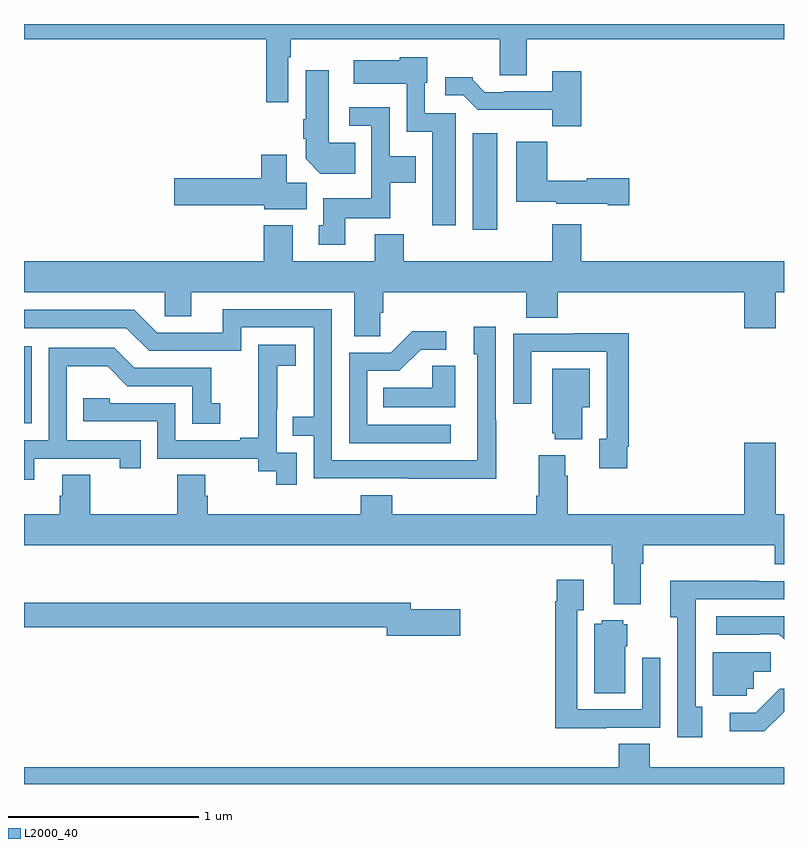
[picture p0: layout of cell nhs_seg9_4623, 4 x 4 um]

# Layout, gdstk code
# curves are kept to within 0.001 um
import gdstk
lib = gdstk.Library(unit=1e-6, precision=1e-09)
def R(c, l, rs):  # rectangles x0, y0, x1, y1
    for r in rs: c.add(gdstk.rectangle(r[:2], r[2:], *l))
def P(c, l, *ps):  # polygons
    for p in ps: c.add(gdstk.Polygon(p, *l))
L2000_40 = (2000, 40)

nhs_seg9_4623 = lib.new_cell('nhs_seg9_4623')
R(nhs_seg9_4623, L2000_40, [(377,1194.399,377.04,1194.805), (379.361,1195.416,379.492,1195.924)])
P(nhs_seg9_4623, L2000_40, [(378.39,1196.324),(378.403,1196.324),(378.403,1196.42),(379.505,1196.42),(379.505,1196.23),(379.645,1196.23),(379.645,1196.42),(381,1196.42),(381,1196.5),(377,1196.5),(377,1196.42),(378.274,1196.42),(378.274,1196.088),(378.39,1196.088)],
  [(379.273,1196.031),(379.11,1196.031),(379.11,1196.19),(379.123,1196.19),(379.123,1196.326),(378.978,1196.326),(378.978,1196.308),(378.735,1196.308),(378.735,1196.186),(379.014,1196.186),(379.014,1195.934),(379.148,1195.934),(379.148,1195.44),(379.273,1195.44)],
  [(378.743,1195.876),(378.604,1195.876),(378.604,1196.257),(378.482,1196.257),(378.482,1196),(378.47,1196),(378.47,1195.897),(378.482,1195.897),(378.482,1195.79),(378.56,1195.712),(378.743,1195.712)],
  [(379.934,1196.251),(379.781,1196.251),(379.781,1196.145),(379.525,1196.145),(379.525,1196.142),(379.426,1196.142),(379.362,1196.206),(379.362,1196.221),(379.218,1196.221),(379.218,1196.124),(379.311,1196.124),(379.387,1196.048),(379.779,1196.048),(379.779,1195.961),(379.934,1195.961)],
  [(378.691,1195.478),(378.927,1195.478),(378.927,1195.664),(379.063,1195.664),(379.063,1195.804),(378.924,1195.804),(378.924,1196.061),(378.711,1196.061),(378.711,1195.965),(378.828,1195.965),(378.828,1195.582),(378.575,1195.582),(378.575,1195.44),(378.551,1195.44),(378.551,1195.338),(378.691,1195.338)],
  [(380.185,1195.688),(379.962,1195.688),(379.962,1195.675),(379.754,1195.675),(379.754,1195.879),(379.592,1195.879),(379.592,1195.565),(379.8,1195.565),(379.8,1195.553),(380.072,1195.553),(380.072,1195.546),(380.185,1195.546)],
  [(378.487,1195.664),(378.382,1195.664),(378.382,1195.813),(378.248,1195.813),(378.248,1195.688),(377.79,1195.688),(377.79,1195.546),(378.264,1195.546),(378.264,1195.526),(378.487,1195.526)],
  [(378.876,1194.979),(378.89,1194.979),(378.89,1195.088),(379.643,1195.088),(379.643,1194.955),(379.808,1194.955),(379.808,1195.088),(380.792,1195.088),(380.792,1194.9),(380.956,1194.9),(380.956,1195.088),(381,1195.088),(381,1195.252),(379.934,1195.252),(379.934,1195.447),(379.781,1195.447),(379.781,1195.252),(378.998,1195.252),(378.998,1195.393),(378.845,1195.393),(378.845,1195.252),(378.415,1195.252),(378.415,1195.441),(378.263,1195.441),(378.263,1195.252),(377,1195.252),(377,1195.088),(377.742,1195.088),(377.742,1194.961),(377.881,1194.961),(377.881,1195.088),(378.737,1195.088),(378.737,1194.856),(378.876,1194.856)],
  [(379.485,1194.413),(379.482,1194.413),(379.482,1194.907),(379.367,1194.907),(379.367,1194.762),(379.386,1194.762),(379.386,1194.204),(378.621,1194.204),(378.621,1194.999),(378.047,1194.999),(378.047,1194.876),(377.7,1194.876),(377.58,1194.996),(377,1194.996),(377,1194.9),(377.538,1194.9),(377.658,1194.78),(378.144,1194.78),(378.144,1194.903),(378.525,1194.903),(378.525,1194.434),(378.415,1194.434),(378.415,1194.333),(378.525,1194.333),(378.525,1194.108),(379.485,1194.107)],
  [(379.246,1194.39),(378.807,1194.39),(378.807,1194.675),(378.976,1194.675),(379.087,1194.786),(379.222,1194.786),(379.222,1194.884),(379.043,1194.884),(378.93,1194.771),(378.711,1194.771),(378.711,1194.294),(379.246,1194.294)],
  [(380.176,1194.274),(380.183,1194.274),(380.183,1194.872),(379.891,1194.872),(379.891,1194.87),(379.575,1194.87),(379.575,1194.501),(379.671,1194.501),(379.671,1194.774),(380.067,1194.774),(380.067,1194.318),(380.027,1194.318),(380.027,1194.162),(380.176,1194.162)],
  [(378.435,1194.243),(378.33,1194.243),(378.33,1194.473),(378.332,1194.473),(378.332,1194.701),(378.43,1194.701),(378.43,1194.811),(378.232,1194.811),(378.232,1194.605),(378.233,1194.605),(378.233,1194.322),(378.137,1194.322),(378.137,1194.309),(377.796,1194.309),(377.796,1194.504),(377.451,1194.504),(377.451,1194.531),(377.311,1194.531),(377.311,1194.408),(377.7,1194.408),(377.7,1194.213),(378.234,1194.213),(378.234,1194.145),(378.327,1194.145),(378.327,1194.075),(378.435,1194.075)],
  [(377.053,1194.213),(377.504,1194.213),(377.504,1194.162),(377.615,1194.162),(377.615,1194.309),(377.226,1194.309),(377.226,1194.698),(377.44,1194.698),(377.544,1194.594),(377.886,1194.594),(377.886,1194.396),(378.034,1194.396),(378.034,1194.505),(377.985,1194.505),(377.985,1194.69),(377.581,1194.69),(377.476,1194.795),(377.13,1194.795),(377.13,1194.309),(377,1194.309),(377,1194.102),(377.053,1194.102)],
  [(379.27,1194.701),(379.149,1194.701),(379.149,1194.586),(378.892,1194.586),(378.892,1194.482),(379.27,1194.482)],
  [(379.939,1194.482),(379.978,1194.482),(379.978,1194.685),(379.781,1194.685),(379.781,1194.345),(379.793,1194.345),(379.793,1194.314),(379.939,1194.314)],
  [(380.245,1193.66),(380.258,1193.66),(380.258,1193.756),(380.951,1193.756),(380.951,1193.657),(381,1193.657),(381,1193.92),(380.956,1193.92),(380.956,1194.295),(380.792,1194.295),(380.792,1193.92),(379.862,1193.92),(379.862,1194.122),(379.849,1194.122),(379.849,1194.229),(379.709,1194.229),(379.709,1194.016),(379.697,1194.016),(379.697,1193.92),(378.938,1193.92),(378.938,1194.019),(378.773,1194.019),(378.773,1193.92),(377.966,1193.92),(377.966,1194.018),(377.953,1194.018),(377.953,1194.128),(377.806,1194.128),(377.806,1193.92),(377.349,1193.92),(377.349,1194.128),(377.201,1194.128),(377.201,1194.018),(377.189,1194.018),(377.189,1193.92),(377,1193.92),(377,1193.756),(380.093,1193.756),(380.093,1193.66),(380.105,1193.66),(380.105,1193.447),(380.245,1193.447)],
  [(380.065,1192.797),(380.349,1192.797),(380.349,1193.164),(380.253,1193.164),(380.253,1192.893),(379.911,1192.893),(379.911,1193.414),(379.945,1193.414),(379.945,1193.575),(379.803,1193.575),(379.803,1193.462),(379.795,1193.462),(379.795,1192.793),(380.065,1192.793)],
  [(380.569,1192.906),(380.535,1192.906),(380.535,1193.472),(381,1193.472),(381,1193.568),(380.867,1193.568),(380.867,1193.57),(380.402,1193.57),(380.402,1193.378),(380.439,1193.378),(380.439,1192.746),(380.569,1192.746)],
  [(379.297,1193.421),(379.036,1193.421),(379.036,1193.455),(377,1193.455),(377,1193.326),(378.908,1193.326),(378.908,1193.279),(379.297,1193.279)],
  [(381,1193.382),(380.643,1193.382),(380.643,1193.286),(380.873,1193.286),(380.873,1193.289),(380.973,1193.289),(381,1193.262)],
  [(380.164,1193.226),(380.176,1193.226),(380.176,1193.34),(380.154,1193.34),(380.154,1193.362),(380.04,1193.362),(380.04,1193.344),(380,1193.344),(380,1192.978),(380.164,1192.978)],
  [(380.805,1193.001),(380.841,1193.001),(380.841,1193.09),(380.929,1193.09),(380.929,1193.193),(380.624,1193.193),(380.624,1192.965),(380.805,1192.965)],
  [(381,1192.881),(381,1193.002),(380.977,1193.002),(380.85,1192.875),(380.715,1192.875),(380.715,1192.778),(380.896,1192.778)],
  [(381,1192.588),(380.294,1192.588),(380.294,1192.712),(380.129,1192.712),(380.129,1192.588),(377,1192.588),(377,1192.5),(381,1192.5)])

lib.write_gds('nhs_seg9_4623.gds')
